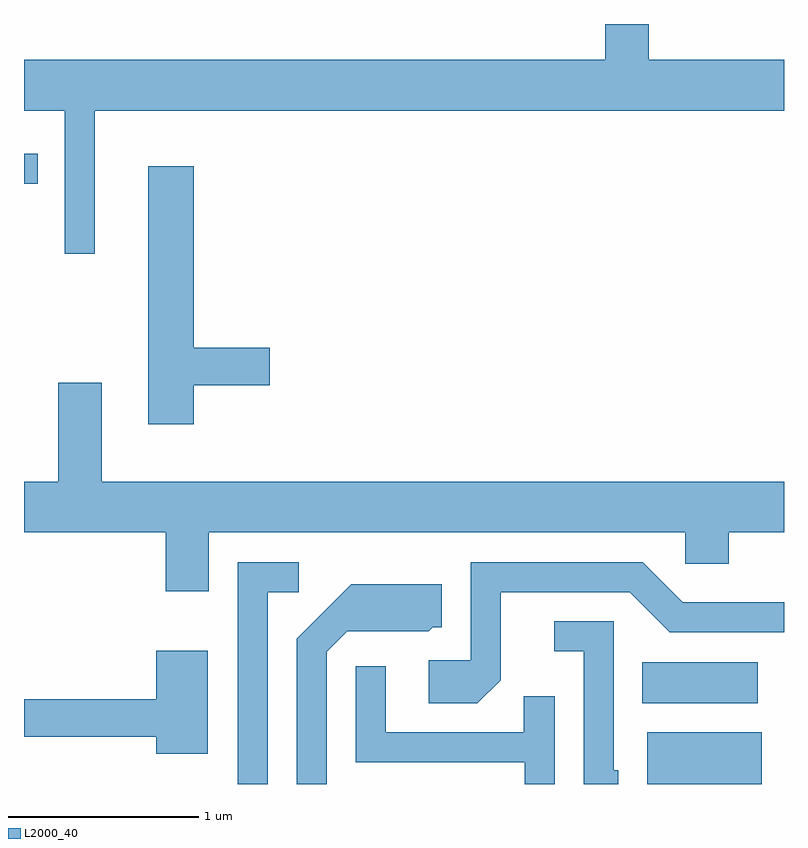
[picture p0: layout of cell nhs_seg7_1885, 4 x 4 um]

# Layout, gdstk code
import gdstk
lib = gdstk.Library(unit=1e-6, precision=1e-09)
def R(c, l, rs):  # rectangles x0, y0, x1, y1
    for r in rs: c.add(gdstk.rectangle(r[:2], r[2:], *l))
def P(c, l, *ps):  # polygons
    for p in ps: c.add(gdstk.Polygon(p, *l))
L2000_40 = (2000, 40)

nhs_seg7_1885 = lib.new_cell('nhs_seg7_1885')
R(nhs_seg7_1885, L2000_40, [(244.891,1786.252,245.494,1786.524), (244.866,1786.676,245.474,1786.894), (241.611,1789.411,241.683,1789.569)])
P(nhs_seg7_1885, L2000_40, [(241.984,1789.796),(245.611,1789.796),(245.611,1790.064),(244.899,1790.064),(244.899,1790.252),(244.671,1790.252),(244.671,1790.064),(241.611,1790.064),(241.611,1789.796),(241.826,1789.796),(241.826,1789.043),(241.984,1789.043)],
  [(242.504,1788.351),(242.904,1788.351),(242.904,1788.549),(242.504,1788.549),(242.504,1789.504),(242.266,1789.504),(242.266,1788.146),(242.504,1788.146)],
  [(242.584,1787.576),(245.091,1787.576),(245.091,1787.411),(245.319,1787.411),(245.319,1787.576),(245.611,1787.576),(245.611,1787.844),(242.019,1787.844),(242.019,1788.364),(241.791,1788.364),(241.791,1787.844),(241.611,1787.844),(241.611,1787.576),(242.356,1787.576),(242.356,1787.266),(242.584,1787.266)],
  [(242.894,1787.261),(243.058,1787.261),(243.058,1787.419),(242.736,1787.419),(242.736,1786.252),(242.894,1786.252)],
  [(244.119,1786.799),(244.119,1787.261),(244.799,1787.261),(245.009,1787.051),(245.611,1787.051),(245.611,1787.209),(245.077,1787.209),(244.867,1787.419),(243.961,1787.419),(243.961,1786.904),(243.741,1786.904),(243.741,1786.676),(243.997,1786.676)],
  [(243.204,1786.949),(243.312,1787.056),(243.742,1787.056),(243.762,1787.076),(243.809,1787.076),(243.809,1787.304),(243.334,1787.304),(243.046,1787.017),(243.046,1786.252),(243.204,1786.252)],
  [(244.739,1786.324),(244.714,1786.324),(244.714,1787.109),(244.403,1787.109),(244.403,1786.951),(244.556,1786.951),(244.556,1786.252),(244.739,1786.252)],
  [(242.579,1786.954),(242.306,1786.954),(242.306,1786.699),(241.611,1786.699),(241.611,1786.501),(242.306,1786.501),(242.306,1786.411),(242.579,1786.411)],
  [(244.404,1786.713),(244.241,1786.713),(244.241,1786.524),(243.514,1786.524),(243.514,1786.873),(243.356,1786.873),(243.356,1786.366),(244.246,1786.366),(244.246,1786.252),(244.404,1786.252)])

lib.write_gds('nhs_seg7_1885.gds')
